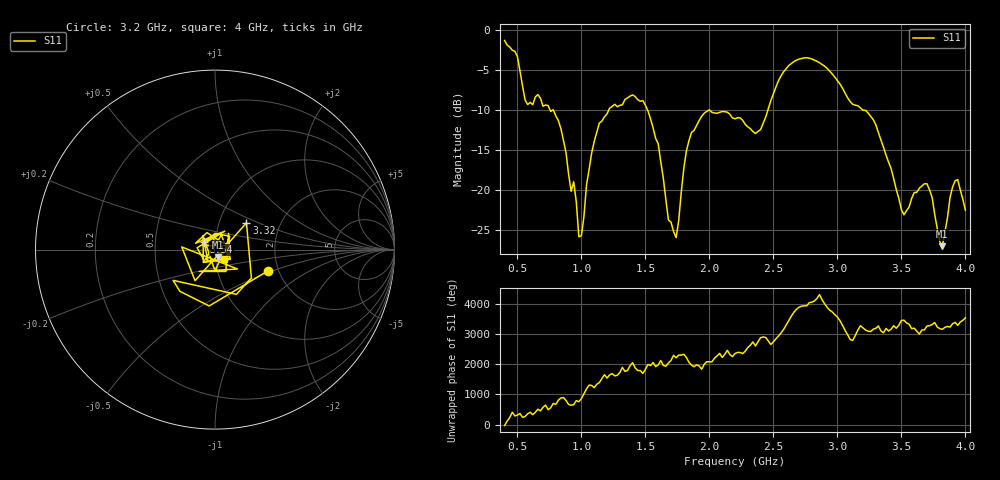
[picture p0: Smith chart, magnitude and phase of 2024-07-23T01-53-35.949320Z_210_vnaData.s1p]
!Created with skrf (http://scikit-rf.org).
# Hz S RI R 50.0
!freq ReS11 ImS11
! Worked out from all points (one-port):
!   181 points, 400 MHz to 4 GHz, reference 50 ohm
!   lowest |S11| = -27.0 dB at 3.82 GHz (marker M1), VSWR 1.09, Z = 51.3 - j4.31 ohm
!   |S11| at or under -10 dB: 1.517 GHz to 1.995 GHz (477.5 MHz wide, 27.2 % of centre); 2.003 GHz to 2.457 GHz (453.7 MHz wide, 20.3 % of centre); 3.204 GHz to end of sweep (the widest 3 of 5)
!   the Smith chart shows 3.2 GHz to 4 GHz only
!   S11 on the Smith chart (normalised r, x): 3.2 GHz: 1.75, -0.47; 3.32 GHz: 1.35, +0.42; 3.54 GHz: 0.88, +0.08; 4 GHz: 1.10, -0.12
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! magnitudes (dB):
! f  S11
! 400 MHz  -1.3
! 500 MHz  -3.3
! 580 MHz  -9.3
! 780 MHz  -9.9
! 860 MHz  -13.8
! 1 GHz  -25.7
! 1.04 GHz  -19.4
! 1.14 GHz  -11.6
! 1.3 GHz  -9.4
! 1.5 GHz  -9.4
! 1.6 GHz  -14.2
! 1.68 GHz  -23.8
! 1.74 GHz  -26.0
! 1.76 GHz  -23.8
! 1.86 GHz  -12.8
! 2.2 GHz  -11.1
! 2.4 GHz  -12.4
! 2.66 GHz  -3.9
! 2.9 GHz  -4.5
! 3.1 GHz  -8.9
! 3.2 GHz  -10.0
! 3.32 GHz  -12.8
! 3.54 GHz  -22.6
! 3.56 GHz  -22.1
! 3.7 GHz  -19.2
! 3.82 GHz  -27.0
! 3.92 GHz  -18.8
! 4 GHz  -22.5
